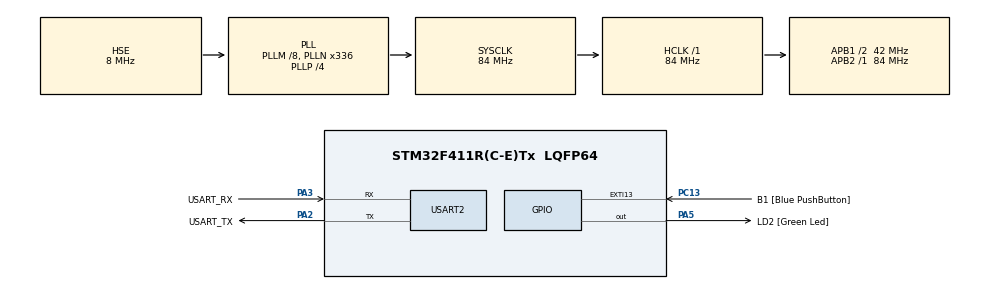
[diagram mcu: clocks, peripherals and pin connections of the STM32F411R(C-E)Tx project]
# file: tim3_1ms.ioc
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Mcu.Family=STM32F4
Mcu.Name=STM32F411R(C-E)Tx
Mcu.Package=LQFP64
NVIC.PriorityGroup=NVIC_PRIORITYGROUP_2
NVIC.TIM3_IRQn=true\:0\:0\:true\:false\:true\:true\:true\:true
PA13.GPIO_Label=TMS
PA13.Mode=Serial_Wire
PA13.Signal=SYS_JTMS-SWDIO
PA14.GPIO_Label=TCK
PA14.Mode=Serial_Wire
PA14.Signal=SYS_JTCK-SWCLK
PA2.GPIO_Label=USART_TX
PA2.Mode=Asynchronous
PA2.Signal=USART2_TX
PA3.GPIO_Label=USART_RX
PA3.Mode=Asynchronous
PA3.Signal=USART2_RX
PA5.GPIO_Label=LD2 [Green Led]
PA5.Signal=GPIO_Output
PB3.GPIO_Label=SWO
PB3.Signal=SYS_JTDO-SWO
PC13-ANTI_TAMP.GPIO_Label=B1 [Blue PushButton]
PC13-ANTI_TAMP.GPIO_ModeDefaultEXTI=GPIO_MODE_IT_FALLING
PC13-ANTI_TAMP.Signal=GPXTI13
PC14-OSC32_IN.Mode=LSE-External-Oscillator
PC14-OSC32_IN.Signal=RCC_OSC32_IN
PC15-OSC32_OUT.Mode=LSE-External-Oscillator
PC15-OSC32_OUT.Signal=RCC_OSC32_OUT
PH0\ -\ OSC_IN.Mode=HSE-External-Clock-Source
PH0\ -\ OSC_IN.Signal=RCC_OSC_IN
PH1\ -\ OSC_OUT.Mode=HSE-External-Clock-Source
PH1\ -\ OSC_OUT.Signal=RCC_OSC_OUT
ProjectManager.HeapSize=0x200
ProjectManager.StackSize=0x400
ProjectManager.TargetToolchain=STM32CubeIDE
RCC.48MHZClocksFreq_Value=84000000
RCC.AHBFreq_Value=84000000
RCC.APB1CLKDivider=RCC_HCLK_DIV2
RCC.APB1Freq_Value=42000000
RCC.APB1TimFreq_Value=84000000
RCC.APB2Freq_Value=84000000
RCC.APB2TimFreq_Value=84000000
RCC.CortexFreq_Value=84000000
RCC.FLatency-AdvancedSettings=FLASH_LATENCY_2
RCC.HCLKFreq_Value=84000000
RCC.HSE_VALUE=8000000
RCC.HSI_VALUE=16000000
RCC.PLLM=8
RCC.PLLN=336
RCC.PLLP=RCC_PLLP_DIV4
RCC.PLLSourceVirtual=RCC_PLLSOURCE_HSE
RCC.SYSCLKFreq_VALUE=84000000
RCC.SYSCLKSource=RCC_SYSCLKSOURCE_PLLCLK
RCC.VCOOutputFreq_Value=336000000
TIM3.AutoReloadPreload=TIM_AUTORELOAD_PRELOAD_ENABLE
TIM3.Period=1000-1
TIM3.Prescaler=84-1
USART2.VirtualMode=VM_ASYNC
VP_TIM3_VS_ClockSourceINT.Mode=Internal
board=NUCLEO-F411RE

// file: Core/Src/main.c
/* USER CODE BEGIN Header */
/**
  ******************************************************************************
  * @file           : main.c
  * @brief          : Main program body
  ******************************************************************************
  * @attention
  *
  * Copyright (c) 2024 STMicroelectronics.
  * All rights reserved.
  *
  * This software is licensed under terms that can be found in the LICENSE file
  * in the root directory of this software component.
  * If no LICENSE file comes with this software, it is provided AS-IS.
  *
  ******************************************************************************
  */
/* USER CODE END Header */
#include "main.h"

/* USER CODE BEGIN Includes */
#include <stdio.h>
/* USER CODE END Includes */

/* USER CODE BEGIN PD */
#ifdef __GNUC__
/* With GCC, small printf (option LD Linker->Libraries->Small printf
   set to 'Yes') calls __io_putchar() */
#define PUTCHAR_PROTOTYPE int __io_putchar(int ch)
#else
#define PUTCHAR_PROTOTYPE int fputc(int ch, FILE *f)
#endif /* __GNUC__ */
/* USER CODE END PD */

TIM_HandleTypeDef htim3;

UART_HandleTypeDef huart2;

/* USER CODE BEGIN PV */
volatile int tim3Flag1Sec;
volatile int tim3Sec;
volatile unsigned int tim3;
volatile unsigned int tim3Cnt;

/* USER CODE END PV */

void SystemClock_Config(void);
static void MX_GPIO_Init(void);
static void MX_USART2_UART_Init(void);
static void MX_TIM3_Init(void);

int main(void)
{

  /* MCU Configuration--------------------------------------------------------*/

  /* Reset of all peripherals, Initializes the Flash interface and the Systick. */
  HAL_Init();

  /* Configure the system clock */
  SystemClock_Config();

  /* Initialize all configured peripherals */
  MX_GPIO_Init();
  MX_USART2_UART_Init();
  MX_TIM3_Init();
  /* USER CODE BEGIN 2 */
  if(HAL_TIM_Base_Start_IT(&htim3) != HAL_OK)
  {
	  Error_Handler();
  }
  printf("start main() - time3_1ms\r\n");
  /* USER CODE END 2 */

  /* Infinite loop */
  /* USER CODE BEGIN WHILE */
  while (1)
  {
	  if(!(tim3Cnt%100))
	  {
		  tim3Flag1Sec = 0;
		  HAL_GPIO_TogglePin(LD2_GPIO_Port,LD2_Pin);
		  printf("tim3Sec : %u, %d\r\n", tim3Sec,tim3Cnt);

	  }
    /* USER CODE END WHILE */

  }
}

void SystemClock_Config(void)
{
  RCC_OscInitTypeDef RCC_OscInitStruct = {0};
  RCC_ClkInitTypeDef RCC_ClkInitStruct = {0};

  /** Configure the main internal regulator output voltage
  */
  __HAL_RCC_PWR_CLK_ENABLE();
  __HAL_PWR_VOLTAGESCALING_CONFIG(PWR_REGULATOR_VOLTAGE_SCALE1);

  /** Initializes the RCC Oscillators according to the specified parameters
  * in the RCC_OscInitTypeDef structure.
  */
  RCC_OscInitStruct.OscillatorType = RCC_OSCILLATORTYPE_HSE;
  RCC_OscInitStruct.HSEState = RCC_HSE_BYPASS;
  RCC_OscInitStruct.PLL.PLLState = RCC_PLL_ON;
  RCC_OscInitStruct.PLL.PLLSource = RCC_PLLSOURCE_HSE;
  RCC_OscInitStruct.PLL.PLLM = 8;
  RCC_OscInitStruct.PLL.PLLN = 336;
  RCC_OscInitStruct.PLL.PLLP = RCC_PLLP_DIV4;
  RCC_OscInitStruct.PLL.PLLQ = 4;
  if (HAL_RCC_OscConfig(&RCC_OscInitStruct) != HAL_OK)
  {
    Error_Handler();
  }

  /** Initializes the CPU, AHB and APB buses clocks
  */
  RCC_ClkInitStruct.ClockType = RCC_CLOCKTYPE_HCLK|RCC_CLOCKTYPE_SYSCLK
                              |RCC_CLOCKTYPE_PCLK1|RCC_CLOCKTYPE_PCLK2;
  RCC_ClkInitStruct.SYSCLKSource = RCC_SYSCLKSOURCE_PLLCLK;
  RCC_ClkInitStruct.AHBCLKDivider = RCC_SYSCLK_DIV1;
  RCC_ClkInitStruct.APB1CLKDivider = RCC_HCLK_DIV2;
  RCC_ClkInitStruct.APB2CLKDivider = RCC_HCLK_DIV1;

  if (HAL_RCC_ClockConfig(&RCC_ClkInitStruct, FLASH_LATENCY_2) != HAL_OK)
  {
    Error_Handler();
  }
}

static void MX_TIM3_Init(void)
{

  TIM_ClockConfigTypeDef sClockSourceConfig = {0};
  TIM_MasterConfigTypeDef sMasterConfig = {0};

  htim3.Instance = TIM3;
  htim3.Init.Prescaler = 84-1;
  htim3.Init.CounterMode = TIM_COUNTERMODE_UP;
  htim3.Init.Period = 1000-1;
  htim3.Init.ClockDivision = TIM_CLOCKDIVISION_DIV1;
  htim3.Init.AutoReloadPreload = TIM_AUTORELOAD_PRELOAD_ENABLE;
  if (HAL_TIM_Base_Init(&htim3) != HAL_OK)
  {
    Error_Handler();
  }
  sClockSourceConfig.ClockSource = TIM_CLOCKSOURCE_INTERNAL;
  if (HAL_TIM_ConfigClockSource(&htim3, &sClockSourceConfig) != HAL_OK)
  {
    Error_Handler();
  }
  sMasterConfig.MasterOutputTrigger = TIM_TRGO_RESET;
  sMasterConfig.MasterSlaveMode = TIM_MASTERSLAVEMODE_DISABLE;
  if (HAL_TIMEx_MasterConfigSynchronization(&htim3, &sMasterConfig) != HAL_OK)
  {
    Error_Handler();
  }

}

static void MX_USART2_UART_Init(void)
{

  huart2.Instance = USART2;
  huart2.Init.BaudRate = 115200;
  huart2.Init.WordLength = UART_WORDLENGTH_8B;
  huart2.Init.StopBits = UART_STOPBITS_1;
  huart2.Init.Parity = UART_PARITY_NONE;
  huart2.Init.Mode = UART_MODE_TX_RX;
  huart2.Init.HwFlowCtl = UART_HWCONTROL_NONE;
  huart2.Init.OverSampling = UART_OVERSAMPLING_16;
  if (HAL_UART_Init(&huart2) != HAL_OK)
  {
    Error_Handler();
  }

}

static void MX_GPIO_Init(void)
{
  GPIO_InitTypeDef GPIO_InitStruct = {0};

  /* GPIO Ports Clock Enable */
  __HAL_RCC_GPIOC_CLK_ENABLE();
  __HAL_RCC_GPIOH_CLK_ENABLE();
  __HAL_RCC_GPIOA_CLK_ENABLE();
  __HAL_RCC_GPIOB_CLK_ENABLE();

  /*Configure GPIO pin Output Level */
  HAL_GPIO_WritePin(LD2_GPIO_Port, LD2_Pin, GPIO_PIN_RESET);

  /*Configure GPIO pin : B1_Pin */
  GPIO_InitStruct.Pin = B1_Pin;
  GPIO_InitStruct.Mode = GPIO_MODE_IT_FALLING;
  GPIO_InitStruct.Pull = GPIO_NOPULL;
  HAL_GPIO_Init(B1_GPIO_Port, &GPIO_InitStruct);

  /*Configure GPIO pin : LD2_Pin */
  GPIO_InitStruct.Pin = LD2_Pin;
  GPIO_InitStruct.Mode = GPIO_MODE_OUTPUT_PP;
  GPIO_InitStruct.Pull = GPIO_NOPULL;
  GPIO_InitStruct.Speed = GPIO_SPEED_FREQ_LOW;
  HAL_GPIO_Init(LD2_GPIO_Port, &GPIO_InitStruct);

}

/* USER CODE BEGIN 4 */
/**
  * @brief  Retargets the C library printf function to the USART.
  * @param  None
  * @retval None
  */
PUTCHAR_PROTOTYPE
{
  /* Place your implementation of fputc here */
  /* e.g. write a character to the USART6 and Loop until the end of transmission */
  HAL_UART_Transmit(&huart2, (uint8_t *)&ch, 1, 0xFFFF);

  return ch;
}
void HAL_TIM_PeriodElapsedCallback(TIM_HandleTypeDef *htim)
{

	tim3Cnt++;
	if(tim3Cnt == 1000) // 1ms * 1000 = 1sec
	{
		tim3Flag1Sec = 1;
		tim3Sec++;
		tim3Cnt = 0;
	}

}
/* USER CODE END 4 */

void Error_Handler(void)
{
  __disable_irq();
  while (1)
  {
  }
}
